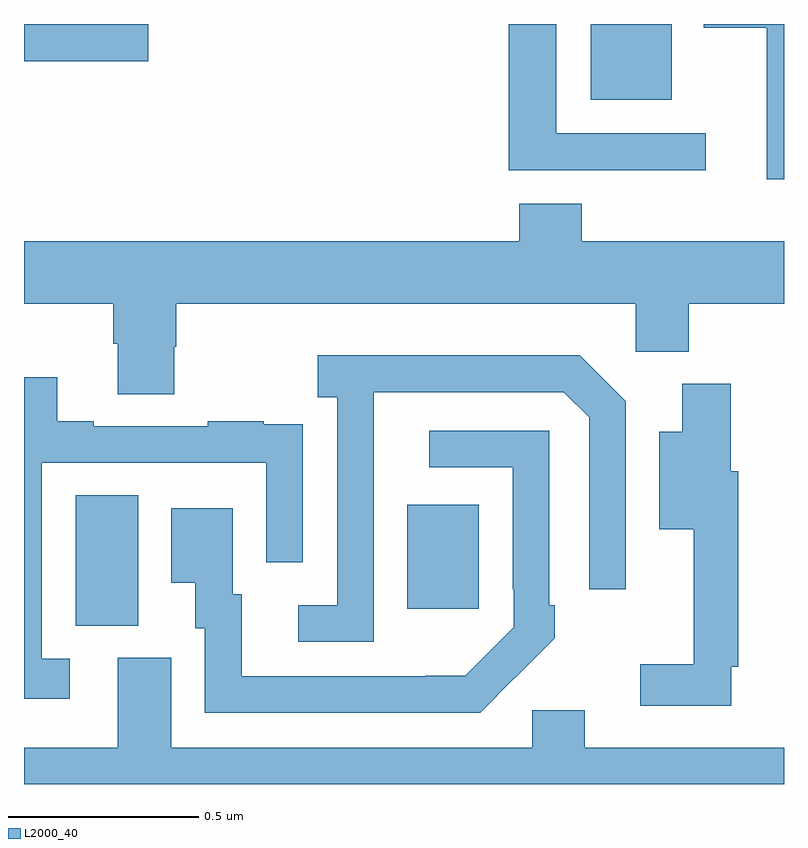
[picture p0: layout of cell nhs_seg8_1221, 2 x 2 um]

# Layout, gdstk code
import gdstk
lib = gdstk.Library(unit=1e-6, precision=1e-09)
def R(c, l, rs):  # rectangles x0, y0, x1, y1
    for r in rs: c.add(gdstk.rectangle(r[:2], r[2:], *l))
def P(c, l, *ps):  # polygons
    for p in ps: c.add(gdstk.Polygon(p, *l))
L2000_40 = (2000, 40)

nhs_seg8_1221 = lib.new_cell('nhs_seg8_1221')
R(nhs_seg8_1221, L2000_40, [(127.136,1118.317,127.3,1118.66), (128.009,1118.361,128.197,1118.635), (128.492,1119.701,128.704,1119.9), (127,1119.802,127.327,1119.9)])
P(nhs_seg8_1221, L2000_40, [(128.794,1119.612),(128.401,1119.612),(128.401,1119.9),(128.276,1119.9),(128.276,1119.515),(128.794,1119.515)],
  [(129,1119.9),(128.789,1119.9),(128.789,1119.89),(128.954,1119.89),(128.954,1119.492),(129,1119.492)],
  [(127.395,1119.051),(127.4,1119.051),(127.4,1119.164),(128.61,1119.164),(128.61,1119.038),(128.749,1119.038),(128.749,1119.164),(129,1119.164),(129,1119.328),(128.468,1119.328),(128.468,1119.427),(128.303,1119.427),(128.303,1119.328),(127,1119.328),(127,1119.164),(127.235,1119.164),(127.235,1119.058),(127.247,1119.058),(127.247,1118.926),(127.395,1118.926)],
  [(127.92,1118.731),(127.921,1118.731),(127.921,1118.931),(128.421,1118.931),(128.487,1118.865),(128.487,1118.412),(128.583,1118.412),(128.583,1118.907),(128.462,1119.028),(127.773,1119.028),(127.773,1118.918),(127.824,1118.918),(127.824,1118.37),(127.722,1118.37),(127.722,1118.274),(127.92,1118.274)],
  [(127.12,1118.229),(127.047,1118.229),(127.047,1118.745),(127.638,1118.745),(127.638,1118.484),(127.734,1118.484),(127.734,1118.738),(127.733,1118.738),(127.733,1118.847),(127.631,1118.847),(127.631,1118.854),(127.483,1118.854),(127.483,1118.841),(127.183,1118.841),(127.183,1118.854),(127.087,1118.854),(127.087,1118.971),(127,1118.971),(127,1118.124),(127.12,1118.124)],
  [(128.861,1118.209),(128.879,1118.209),(128.879,1118.723),(128.86,1118.723),(128.86,1118.953),(128.732,1118.953),(128.732,1118.827),(128.672,1118.827),(128.672,1118.57),(128.762,1118.57),(128.762,1118.215),(128.622,1118.215),(128.622,1118.106),(128.861,1118.106)],
  [(128.291,1118.179),(128.292,1118.178),(128.397,1118.283),(128.397,1118.371),(128.382,1118.371),(128.382,1118.829),(128.067,1118.829),(128.067,1118.733),(128.286,1118.733),(128.286,1118.413),(128.289,1118.413),(128.289,1118.313),(128.161,1118.185),(128.057,1118.185),(128.057,1118.184),(127.573,1118.184),(127.573,1118.4),(127.549,1118.4),(127.549,1118.626),(127.388,1118.626),(127.388,1118.429),(127.451,1118.429),(127.451,1118.31),(127.476,1118.31),(127.476,1118.088),(128.2,1118.088)],
  [(129,1117.996),(128.476,1117.996),(128.476,1118.094),(128.337,1118.094),(128.337,1117.996),(127.387,1117.996),(127.387,1118.232),(127.247,1118.232),(127.247,1117.996),(127,1117.996),(127,1117.9),(129,1117.9)])

lib.write_gds('nhs_seg8_1221.gds')
